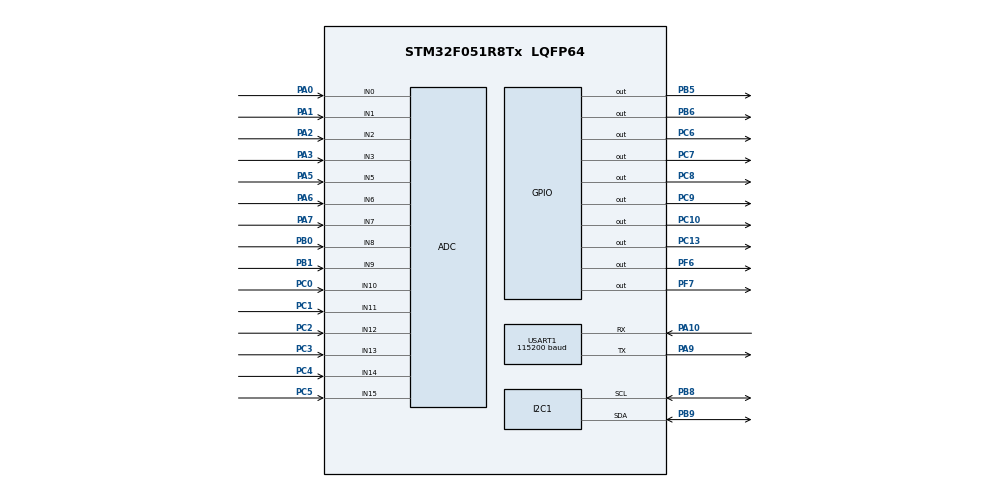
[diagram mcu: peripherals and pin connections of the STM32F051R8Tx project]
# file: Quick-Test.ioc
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ADC.ContinuousConvMode=DISABLE
Dma.ADC.0.Direction=DMA_PERIPH_TO_MEMORY
Dma.ADC.0.Instance=DMA1_Channel1
Dma.ADC.0.MemDataAlignment=DMA_MDATAALIGN_WORD
Dma.ADC.0.MemInc=DMA_MINC_ENABLE
Dma.ADC.0.Mode=DMA_CIRCULAR
Dma.ADC.0.PeriphDataAlignment=DMA_PDATAALIGN_WORD
Dma.ADC.0.PeriphInc=DMA_PINC_DISABLE
Dma.ADC.0.Priority=DMA_PRIORITY_LOW
Dma.Request0=ADC
Mcu.Family=STM32F0
Mcu.Name=STM32F051R8Tx
Mcu.Package=LQFP64
NVIC.DMA1_Channel1_IRQn=true\:0\:0\:false\:false\:true\:false\:true\:true
NVIC.USART1_IRQn=true\:0\:0\:false\:false\:true\:true\:true\:true
PA0.Mode=IN0
PA0.Signal=ADC_IN0
PA1.Mode=IN1
PA1.Signal=ADC_IN1
PA10.Mode=Asynchronous
PA10.Signal=USART1_RX
PA13.Mode=Serial_Wire
PA13.Signal=SYS_SWDIO
PA14.Mode=Serial_Wire
PA14.Signal=SYS_SWCLK
PA2.Mode=IN2
PA2.Signal=ADC_IN2
PA3.Mode=IN3
PA3.Signal=ADC_IN3
PA5.Mode=IN5
PA5.Signal=ADC_IN5
PA6.Mode=IN6
PA6.Signal=ADC_IN6
PA7.Mode=IN7
PA7.Signal=ADC_IN7
PA9.Mode=Asynchronous
PA9.Signal=USART1_TX
PB0.Mode=IN8
PB0.Signal=ADC_IN8
PB1.Mode=IN9
PB1.Signal=ADC_IN9
PB5.Signal=GPIO_Output
PB6.Signal=GPIO_Output
PB8.Mode=I2C
PB8.Signal=I2C1_SCL
PB9.Mode=I2C
PB9.Signal=I2C1_SDA
PC0.Mode=IN10
PC0.Signal=ADC_IN10
PC1.Mode=IN11
PC1.Signal=ADC_IN11
PC10.Signal=GPIO_Output
PC13.Signal=GPIO_Output
PC2.Mode=IN12
PC2.Signal=ADC_IN12
PC3.Mode=IN13
PC3.Signal=ADC_IN13
PC4.Mode=IN14
PC4.Signal=ADC_IN14
PC5.Mode=IN15
PC5.Signal=ADC_IN15
PC6.Signal=GPIO_Output
PC7.Signal=GPIO_Output
PC8.Signal=GPIO_Output
PC9.Signal=GPIO_Output
PF6.Signal=GPIO_Output
PF7.Signal=GPIO_Output
ProjectManager.HeapSize=0x200
ProjectManager.StackSize=0x400
ProjectManager.TargetToolchain=STM32CubeIDE
USART1.BaudRate=115200
USART1.VirtualMode-Asynchronous=VM_ASYNC
VP_ADC_TempSens_Input.Mode=IN-TempSens
VP_ADC_Vref_Input.Mode=IN-Vrefint
board=custom

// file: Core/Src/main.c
/* USER CODE BEGIN Header */
/**
 ******************************************************************************
 * @file           : main.c
 * @brief          : Main program body
 ******************************************************************************
 * @attention
 *
 * Copyright (c) 2022 STMicroelectronics.
 * All rights reserved.
 *
 * This software is licensed under terms that can be found in the LICENSE file
 * in the root directory of this software component.
 * If no LICENSE file comes with this software, it is provided AS-IS.
 *
 ******************************************************************************
 */
/* USER CODE END Header */
#include "main.h"

/* USER CODE BEGIN Includes */
#include "string.h"
#include "stdio.h"
#include "stdlib.h"

/* USER CODE END Includes */

/* USER CODE BEGIN PTD */
typedef struct {
	GPIO_TypeDef *gpio;
	uint16_t pin;
} gpio_pins;

const gpio_pins gpios[] = { { GPIOB, GPIO_PIN_5 }, { GPIOB, GPIO_PIN_6 }, {
GPIOC, GPIO_PIN_10 }, { GPIOC, GPIO_PIN_13 }, { GPIOC, GPIO_PIN_7 }, {
GPIOC, GPIO_PIN_8 }, { GPIOC, GPIO_PIN_9 }, { GPIOC, GPIO_PIN_6 } };

const char *gpio_names[] = { "sys_on PB5", "800v_en PB6", "3v3_en PC10", "n150v_en PC13", "15v_en PC7", "n5v_en PC8", "5v_en PC9",
		"n3v3_en PC6" };

/* USER CODE END PTD */

ADC_HandleTypeDef hadc;
DMA_HandleTypeDef hdma_adc;

I2C_HandleTypeDef hi2c1;

UART_HandleTypeDef huart1;

/* USER CODE BEGIN PV */
static const uint8_t ADT7410_1 = 0x48 << 1; // Use 8-bit address
static const uint8_t ADT7410_2 = 0x4A << 1;
static const uint8_t REG_TEMP = 0x00;
HAL_StatusTypeDef ret;
uint8_t buf[2];
int16_t val;
float temp_c;
#define BUFFER_SIZE 100
uint8_t rx_buf[BUFFER_SIZE];
uint8_t rx_index;
//int gpio_count = 0;
int num_gpios = 8;
volatile uint32_t adcResultsDMA[17];
const int adcChannelCount = sizeof(adcResultsDMA) / sizeof(adcResultsDMA[0]);
int gpio_flags[17];
/* USER CODE END PV */

void SystemClock_Config(void);
static void MX_GPIO_Init(void);
static void MX_DMA_Init(void);
static void MX_USART1_UART_Init(void);
static void MX_ADC_Init(void);
static void MX_I2C1_Init(void);

/* USER CODE BEGIN 0 */

void HAL_UART_RxCpltCallback(UART_HandleTypeDef *huart) {
	if (huart->Instance == USART1) {
		HAL_UART_Receive_IT(&huart1, rx_buf, 1);
		char key = rx_buf[0];
		if (key == 'a' || key == 'b' || key == 'c' || key == 'd' || key == 'e' || key == 'f' || key == 'g' || key == 'h') {
			int charNum = -1;
			switch (key) {
			case 'a':
				charNum = 0;
				break;
			case 'b':
				charNum = 1;
				break;
			case 'c':
				charNum = 2;
				break;
			case 'd':
				charNum = 3;
				break;
			case 'e':
				charNum = 4;
				break;
			case 'f':
				charNum = 5;
				break;
			case 'g':
				charNum = 6;
				break;
			case 'h':
				charNum = 7;
				break;
			}

//			HAL_UART_Transmit(&huart1, "\x1B" , 1, 100);
//			HAL_UART_Transmit(&huart1, "\x5B" , 1, 100);
//			HAL_UART_Transmit(&huart1, "\x32" , 1, 100);
//			HAL_UART_Transmit(&huart1, "\x4A" , 1, 100);
			// Read all the ADCs (adcResultsDMA needs to be uint32_t!!!)
			HAL_ADC_Start_DMA(&hadc, (uint32_t*) adcResultsDMA,
					adcChannelCount);
			for (int i = 0; i < num_gpios; i++) {

				// Changing to the next GPIO
				if (i == charNum) {
					if (HAL_GPIO_ReadPin(gpios[i].gpio, gpios[i].pin)
							== GPIO_PIN_SET) {
						HAL_GPIO_WritePin(gpios[i].gpio, gpios[i].pin,
								GPIO_PIN_RESET);
					} else {

						//			gpio_count == num_gpios - 1 ? gpio_count = 0 : gpio_count++;
						HAL_GPIO_TogglePin(gpios[i].gpio, gpios[i].pin);
						if (gpio_flags[i] == 1) {
						}
					}
				}

				HAL_UART_Transmit(&huart1, gpio_names[i], strlen(gpio_names[i]), 100);
				if (HAL_GPIO_ReadPin(gpios[i].gpio, gpios[i].pin)
						== GPIO_PIN_SET) {
					HAL_UART_Transmit(&huart1, ": H", 3, 100);
				} else {
					HAL_UART_Transmit(&huart1, ": L", 3, 100);
				}
				HAL_UART_Transmit(&huart1, "\r\n", 2, 100);
			}

			HAL_UART_Transmit(&huart1, "\r\n", 2, 100);

			// For each ADC get its voltage
			for (int i = 0; i < adcChannelCount; i++) {

				// Parsing ADCs value based on gpio_count
				uint16_t adc = adcResultsDMA[i];
				uint8_t adcval[2];
				adcval[0] = ((adc & 0xFF00) >> 8); // ADC reading MSB
				adcval[1] = (adc & 0xFF); // ADC reading LSB

				// Processing results for UART Transmission

				char value[8];
				if (i == 0) { // When i is < 8 you read from one of the ADC channels
					float voltage = adc * (3.3 / 4095) * 6;
					sprintf(value, "%f", voltage);
					HAL_UART_Transmit(&huart1, "END_mon PA0", 11, 100);
					if (voltage < 3.4 && voltage > 3.2) {
						gpio_flags[i] = 1;
					} else if (voltage != 0) {
						gpio_flags[i] = 0;
					}

				} else if (i == 1) {
					float voltage = adc * (3.3 / 4095);
					sprintf(value, "%f", voltage);
					HAL_UART_Transmit(&huart1, "BUS_Imon PA1", 12, 100);
					if (voltage < 3.4 && voltage > 3.2) {
						gpio_flags[i] = 1;
					} else if (voltage != 0) {
						gpio_flags[i] = 0;
					}

				} else if (i == 2) {
					float voltage = adc * (3.3 / 4095) * 2;
					sprintf(value, "%f", voltage);
					HAL_UART_Transmit(&huart1, "BUS_Vmon PA2", 12, 100);
					if (voltage < 3.4 && voltage > 3.2) {
						gpio_flags[i] = 1;
					} else if (voltage != 0) {
						gpio_flags[i] = 0;
					}

				} else if (i == 3) {
					float voltage = adc * (3.3 / 4095) * 1.1 ;
					// Need to multiply by 2
					sprintf(value, "%f", voltage);
					HAL_UART_Transmit(&huart1, "3v3_mon PA3", 11, 100);
					if (voltage < 3.4 && voltage > 3.2) {
						gpio_flags[i] = 1;
					} else if (voltage != 0) {
						gpio_flags[i] = 0;
					}

				} else if (i == 4) {
					float voltage = adc * (3.3 / 4095) * -62.5;
					sprintf(value, "%f", voltage);
					HAL_UART_Transmit(&huart1, "n150v_mon PA5", 13, 100);
					if (voltage > -150.1 && voltage < -149.9) {
						gpio_flags[i] = 1;
					} else if (voltage != 0) {
						gpio_flags[i] = 0;
					}

				} else if (i == 5) {
					float voltage = adc * (3.3 / 4095) * -320;
					sprintf(value, "%f", voltage);
					HAL_UART_Transmit(&huart1, "n800v_mon PA6", 13, 100);
					if (voltage < 3.4 && voltage > 3.2) {
						gpio_flags[i] = 1;
					} else if (voltage != 0) {
						gpio_flags[i] = 0;
					}

				} else if (i == 6) {
					float voltage = adc * (3.3 / 4095);
					sprintf(value, "%f", voltage);
					HAL_UART_Transmit(&huart1, "SWP_mon PA7", 11, 100);
					if (voltage < 3.4 && voltage > 3.2) {
						gpio_flags[i] = 1;
					} else if (voltage != 0) {
						gpio_flags[i] = 0;
					}

				} else if (i == 7) {
					float voltage = adc * (3.3 / 4095);
//					 voltage *= -2;
					sprintf(value, "%f", voltage);
					HAL_UART_Transmit(&huart1, "TMP_1 PB0", 9, 100);
					if (voltage > -5.1 && voltage < -4.9) {
						gpio_flags[i] = 1;
					} else if (voltage != 0) {
						gpio_flags[i] = 0;
					}

				} else if (i == 8) {
					float voltage = adc * (3.3 / 4095);
//					 voltage *= 2;
					sprintf(value, "%f", voltage);
					HAL_UART_Transmit(&huart1, "TMP_2 PB1", 9, 100);
					if (voltage > -5.1 && voltage < -4.9) {
						gpio_flags[i] = 1;
					} else if (voltage != 0) {
						gpio_flags[i] = 0;
					}

				} else if (i == 9) {
					float voltage = adc * (3.3 / 4095);
//					 voltage *= 2;
					sprintf(value, "%f", voltage);
					HAL_UART_Transmit(&huart1, "2v5_mon PC0", 11, 100);
					if (voltage < 5.1 && voltage > 4.9) {
						gpio_flags[i] = 1;
					} else if (voltage != 0) {
						gpio_flags[i] = 0;
					}

				} else if (i == 10) {
					float voltage = adc * (3.3 / 4095) * -1.65;
//					 voltage *= -1;
					sprintf(value, "%f", voltage);
					HAL_UART_Transmit(&huart1, "n5v_mon PC1", 11, 100);
					if (voltage > -3.4 && voltage < -3.2) {
						gpio_flags[i] = 1;
					} else if (voltage != 0) {
						gpio_flags[i] = 0;
					}
				} else if (i == 11) {
					float voltage = adc * (3.3 / 4095) * 1.67;
//					 voltage *= -50;
					sprintf(value, "%f", voltage);
					HAL_UART_Transmit(&huart1, "5v_mon PC2", 10, 100);
					if (voltage > -150.1 && voltage < -149.9) {
						gpio_flags[i] = 1;
					} else if (voltage != 0) {
						gpio_flags[i] = 0;
					}

				} else if (i == 12) {
					float voltage = adc * (3.3 / 4095) * -1.05;
//					 voltage *= 5;
					sprintf(value, "%f", voltage);
					HAL_UART_Transmit(&huart1, "n3v3_mon PC3", 12, 100);
					if (voltage < 15.1 && voltage > 14.9) {
						gpio_flags[i] = 1;
					} else if (voltage != 0) {
						gpio_flags[i] = 0;
					}

				} else if (i == 13) {
					float voltage = adc * (3.3 / 4095) * 1.67;
					sprintf(value, "%f", voltage);
					HAL_UART_Transmit(&huart1, "5vref_mon PC4", 13, 100);
					if (voltage < 3.4 && voltage > 3.2) {
						gpio_flags[i] = 1;
					} else if (voltage != 0) {
						gpio_flags[i] = 0;
					}
				} else if (i == 14) { // for i = 13 you read the internal temperature
					// Should be 1.5ish for our actual Signal Board
					float voltage = adc * (3.3 / 4095) * 5;
					sprintf(value, "%f", voltage);
					HAL_UART_Transmit(&huart1, "15v_mon PC5", 11, 100);
					if (voltage < 3.4 && voltage > 3.2) {
						gpio_flags[i] = 1;
					} else if (voltage != 0) {
						gpio_flags[i] = 0;
					}

				} else if (i == 15) { // for i = 13 you read the internal temperature
					// Should be 1.5ish for our actual Signal Board
					float voltage = adc * (3.3 / 4095);
					sprintf(value, "%f", voltage);
					HAL_UART_Transmit(&huart1, "TMPSENSE", 8, 100);
					if (voltage < 3.4 && voltage > 3.2) {
						gpio_flags[i] = 1;
					} else if (voltage != 0) {
						gpio_flags[i] = 0;
					}

				} else if (i == 16) { // for i = 14 you read the internal voltage
					// Should be 3.3 for our actual Signal Board
					float voltage = adc * (3.3 / 4095);
					sprintf(value, "%f", voltage);
					HAL_UART_Transmit(&huart1, "VREFINT", 7, 100);
					if (voltage < 3.4 && voltage > 3.2) {
						gpio_flags[i] = 1;
					} else if (voltage != 0) {
						gpio_flags[i] = 0;
					}

				}

				HAL_UART_Transmit(&huart1, ": ", 2, 100);
				HAL_UART_Transmit(&huart1, value, 8, 100);
				HAL_UART_Transmit(&huart1, "\r\n", 2, 100);

			}

			HAL_UART_Transmit(&huart1, "\r\n", 2, 100);

			 // Tell ADT7410_1 that we want to read from the temperature register
			 buf[0] = REG_TEMP;
			 ret = HAL_I2C_Master_Transmit(&hi2c1, ADT7410_1, buf, 1, 1000);
			 //			I2C_HandleTypeDef *hi2c, uint16_t DevAddress, uint8_t *pData, uint16_t Size, uint32_t Timeout)
			 if (ret != HAL_OK) {
			 strcpy((char*) buf, "Error Tx\r\n");
			 } else {

			 //				 Read 2 bytes from the temperature register
			 ret = HAL_I2C_Master_Receive(&hi2c1, ADT7410_1, buf, 2, 1000);
			 if (ret != HAL_OK) {
			 strcpy((char*) buf, "Error Rx\r\n");
			 } else {

			 val = (int16_t) (buf[0] << 8);
			 val = (val | buf[1]) >> 3;

			 // Convert to 2's complement, since temperature can be negative
			 if (val > 0x7FF) {
			 val |= 0xF000;
			 }

			 // Convert to float temperature value (Celsius)
			 temp_c = val * 0.0625;

			 // Convert temperature to decimal value
			 temp_c *= 100;

			 sprintf((char*) buf, "ADT7410_1: %u.%u C\r\n",
			 ((unsigned int) temp_c / 100),
			 ((unsigned int) temp_c % 100));
			 }
			 }

			 HAL_UART_Transmit(&huart1, buf, strlen((char*) buf), HAL_MAX_DELAY);

			 // Tell ADT7410_2 that we want to read from the temperature register
			 buf[0] = REG_TEMP;
			 ret = HAL_I2C_Master_Transmit(&hi2c1, ADT7410_2, buf, 1, 1000);
			 //			I2C_HandleTypeDef *hi2c, uint16_t DevAddress, uint8_t *pData, uint16_t Size, uint32_t Timeout)
			 if (ret != HAL_OK) {
			 strcpy((char*) buf, "Error Tx\r\n");
			 } else {

			 //				 Read 2 bytes from the temperature register
			 ret = HAL_I2C_Master_Receive(&hi2c1, ADT7410_2, buf, 2, 1000);
			 if (ret != HAL_OK) {
			 strcpy((char*) buf, "Error Rx\r\n");
			 } else {

			 val = (int16_t) (buf[0] << 8);
			 val = (val | buf[1]) >> 3;

			 // Convert to 2's complement, since temperature can be negative
			 if (val > 0x7FF) {
			 val |= 0xF000;
			 }

			 // Convert to float temperature value (Celsius)
			 temp_c = val * 0.0625;

			 // Convert temperature to decimal value
			 temp_c *= 100;

			 sprintf((char*) buf, "ADT7410 2: %u.%u C\r\n",
			 ((unsigned int) temp_c / 100),
			 ((unsigned int) temp_c % 100));
			 }
			 }

			 HAL_UART_Transmit(&huart1, buf, strlen((char*) buf), 100);
			 HAL_UART_Transmit(&huart1, "\r\n", 2, 100);

		}
	}
}

/* USER CODE END 0 */

int main(void)
{

  /* MCU Configuration--------------------------------------------------------*/

  /* Reset of all peripherals, Initializes the Flash interface and the Systick. */
  HAL_Init();

  /* USER CODE BEGIN Init */

	/* USER CODE BEGIN Init */

  /* USER CODE END Init */

  /* Configure the system clock */
  SystemClock_Config();

  /* Initialize all configured peripherals */
  MX_GPIO_Init();
  MX_DMA_Init();
  MX_USART1_UART_Init();
  MX_ADC_Init();
  MX_I2C1_Init();
  /* USER CODE BEGIN 2 */

	for (int i = 0; i < 15; i++) {
		gpio_flags[i] = 1;
	}

  /* USER CODE END 2 */

  /* Infinite loop */
  /* USER CODE BEGIN WHILE */

	HAL_GPIO_WritePin(gpios[0].gpio, gpios[0].pin, GPIO_PIN_SET);

	/* USER CODE BEGIN WHILE */
	while (1) {

		HAL_UART_Receive_IT(&huart1, rx_buf, 1);

    /* USER CODE END WHILE */

	}
}

void SystemClock_Config(void)
{
  RCC_OscInitTypeDef RCC_OscInitStruct = {0};
  RCC_ClkInitTypeDef RCC_ClkInitStruct = {0};
  RCC_PeriphCLKInitTypeDef PeriphClkInit = {0};

  /** Initializes the RCC Oscillators according to the specified parameters
  * in the RCC_OscInitTypeDef structure.
  */
  RCC_OscInitStruct.OscillatorType = RCC_OSCILLATORTYPE_HSI|RCC_OSCILLATORTYPE_HSI14;
  RCC_OscInitStruct.HSIState = RCC_HSI_ON;
  RCC_OscInitStruct.HSI14State = RCC_HSI14_ON;
  RCC_OscInitStruct.HSICalibrationValue = RCC_HSICALIBRATION_DEFAULT;
  RCC_OscInitStruct.HSI14CalibrationValue = 16;
  RCC_OscInitStruct.PLL.PLLState = RCC_PLL_NONE;
  if (HAL_RCC_OscConfig(&RCC_OscInitStruct) != HAL_OK)
  {
    Error_Handler();
  }

  /** Initializes the CPU, AHB and APB buses clocks
  */
  RCC_ClkInitStruct.ClockType = RCC_CLOCKTYPE_HCLK|RCC_CLOCKTYPE_SYSCLK
                              |RCC_CLOCKTYPE_PCLK1;
  RCC_ClkInitStruct.SYSCLKSource = RCC_SYSCLKSOURCE_HSI;
  RCC_ClkInitStruct.AHBCLKDivider = RCC_SYSCLK_DIV1;
  RCC_ClkInitStruct.APB1CLKDivider = RCC_HCLK_DIV1;

  if (HAL_RCC_ClockConfig(&RCC_ClkInitStruct, FLASH_LATENCY_0) != HAL_OK)
  {
    Error_Handler();
  }
  PeriphClkInit.PeriphClockSelection = RCC_PERIPHCLK_USART1|RCC_PERIPHCLK_I2C1;
  PeriphClkInit.Usart1ClockSelection = RCC_USART1CLKSOURCE_PCLK1;
  PeriphClkInit.I2c1ClockSelection = RCC_I2C1CLKSOURCE_HSI;
  if (HAL_RCCEx_PeriphCLKConfig(&PeriphClkInit) != HAL_OK)
  {
    Error_Handler();
  }
}

static void MX_ADC_Init(void)
{

  ADC_ChannelConfTypeDef sConfig = {0};

  /** Configure the global features of the ADC (Clock, Resolution, Data Alignment and number of conversion)
  */
  hadc.Instance = ADC1;
  hadc.Init.ClockPrescaler = ADC_CLOCK_ASYNC_DIV1;
  hadc.Init.Resolution = ADC_RESOLUTION_12B;
  hadc.Init.DataAlign = ADC_DATAALIGN_RIGHT;
  hadc.Init.ScanConvMode = ADC_SCAN_DIRECTION_FORWARD;
  hadc.Init.EOCSelection = ADC_EOC_SINGLE_CONV;
  hadc.Init.LowPowerAutoWait = DISABLE;
  hadc.Init.LowPowerAutoPowerOff = DISABLE;
  hadc.Init.ContinuousConvMode = DISABLE;
  hadc.Init.DiscontinuousConvMode = DISABLE;
  hadc.Init.ExternalTrigConv = ADC_SOFTWARE_START;
  hadc.Init.ExternalTrigConvEdge = ADC_EXTERNALTRIGCONVEDGE_NONE;
  hadc.Init.DMAContinuousRequests = DISABLE;
  hadc.Init.Overrun = ADC_OVR_DATA_PRESERVED;
  if (HAL_ADC_Init(&hadc) != HAL_OK)
  {
    Error_Handler();
  }

  /** Configure for the selected ADC regular channel to be converted.
  */
  sConfig.Channel = ADC_CHANNEL_0;
  sConfig.Rank = ADC_RANK_CHANNEL_NUMBER;
  sConfig.SamplingTime = ADC_SAMPLETIME_1CYCLE_5;
  if (HAL_ADC_ConfigChannel(&hadc, &sConfig) != HAL_OK)
  {
    Error_Handler();
  }

  /** Configure for the selected ADC regular channel to be converted.
  */
  sConfig.Channel = ADC_CHANNEL_1;
  if (HAL_ADC_ConfigChannel(&hadc, &sConfig) != HAL_OK)
  {
    Error_Handler();
  }

  /** Configure for the selected ADC regular channel to be converted.
  */
  sConfig.Channel = ADC_CHANNEL_2;
  if (HAL_ADC_ConfigChannel(&hadc, &sConfig) != HAL_OK)
  {
    Error_Handler();
  }

  /** Configure for the selected ADC regular channel to be converted.
  */
  sConfig.Channel = ADC_CHANNEL_3;
  if (HAL_ADC_ConfigChannel(&hadc, &sConfig) != HAL_OK)
  {
    Error_Handler();
  }

  /** Configure for the selected ADC regular channel to be converted.
  */
  sConfig.Channel = ADC_CHANNEL_5;
  if (HAL_ADC_ConfigChannel(&hadc, &sConfig) != HAL_OK)
  {
    Error_Handler();
  }

  /** Configure for the selected ADC regular channel to be converted.
  */
  sConfig.Channel = ADC_CHANNEL_6;
  if (HAL_ADC_ConfigChannel(&hadc, &sConfig) != HAL_OK)
  {
    Error_Handler();
  }

  /** Configure for the selected ADC regular channel to be converted.
  */
  sConfig.Channel = ADC_CHANNEL_7;
  if (HAL_ADC_ConfigChannel(&hadc, &sConfig) != HAL_OK)
  {
    Error_Handler();
  }

  /** Configure for the selected ADC regular channel to be converted.
  */
  sConfig.Channel = ADC_CHANNEL_8;
  if (HAL_ADC_ConfigChannel(&hadc, &sConfig) != HAL_OK)
  {
    Error_Handler();
  }

  /** Configure for the selected ADC regular channel to be converted.
  */
  sConfig.Channel = ADC_CHANNEL_9;
  if (HAL_ADC_ConfigChannel(&hadc, &sConfig) != HAL_OK)
  {
    Error_Handler();
  }

  /** Configure for the selected ADC regular channel to be converted.
  */
  sConfig.Channel = ADC_CHANNEL_10;
  if (HAL_ADC_ConfigChannel(&hadc, &sConfig) != HAL_OK)
  {
    Error_Handler();
  }

  /** Configure for the selected ADC regular channel to be converted.
  */
  sConfig.Channel = ADC_CHANNEL_11;
  if (HAL_ADC_ConfigChannel(&hadc, &sConfig) != HAL_OK)
  {
    Error_Handler();
  }

  /** Configure for the selected ADC regular channel to be converted.
  */
  sConfig.Channel = ADC_CHANNEL_12;
  if (HAL_ADC_ConfigChannel(&hadc, &sConfig) != HAL_OK)
  {
    Error_Handler();
  }

  /** Configure for the selected ADC regular channel to be converted.
  */
  sConfig.Channel = ADC_CHANNEL_13;
  if (HAL_ADC_ConfigChannel(&hadc, &sConfig) != HAL_OK)
  {
    Error_Handler();
  }

  /** Configure for the selected ADC regular channel to be converted.
  */
  sConfig.Channel = ADC_CHANNEL_14;
  if (HAL_ADC_ConfigChannel(&hadc, &sConfig) != HAL_OK)
  {
    Error_Handler();
  }

  /** Configure for the selected ADC regular channel to be converted.
  */
  sConfig.Channel = ADC_CHANNEL_15;
  if (HAL_ADC_ConfigChannel(&hadc, &sConfig) != HAL_OK)
  {
    Error_Handler();
  }

  /** Configure for the selected ADC regular channel to be converted.
  */
  sConfig.Channel = ADC_CHANNEL_TEMPSENSOR;
  if (HAL_ADC_ConfigChannel(&hadc, &sConfig) != HAL_OK)
  {
    Error_Handler();
  }

  /** Configure for the selected ADC regular channel to be converted.
  */
  sConfig.Channel = ADC_CHANNEL_VREFINT;
  if (HAL_ADC_ConfigChannel(&hadc, &sConfig) != HAL_OK)
  {
    Error_Handler();
  }

}

static void MX_I2C1_Init(void)
{

  hi2c1.Instance = I2C1;
  hi2c1.Init.Timing = 0x2000090E;
  hi2c1.Init.OwnAddress1 = 0;
  hi2c1.Init.AddressingMode = I2C_ADDRESSINGMODE_7BIT;
  hi2c1.Init.DualAddressMode = I2C_DUALADDRESS_DISABLE;
  hi2c1.Init.OwnAddress2 = 0;
  hi2c1.Init.OwnAddress2Masks = I2C_OA2_NOMASK;
  hi2c1.Init.GeneralCallMode = I2C_GENERALCALL_DISABLE;
  hi2c1.Init.NoStretchMode = I2C_NOSTRETCH_DISABLE;
  if (HAL_I2C_Init(&hi2c1) != HAL_OK)
  {
    Error_Handler();
  }

  /** Configure Analogue filter
  */
  if (HAL_I2CEx_ConfigAnalogFilter(&hi2c1, I2C_ANALOGFILTER_ENABLE) != HAL_OK)
  {
    Error_Handler();
  }

  /** Configure Digital filter
  */
  if (HAL_I2CEx_ConfigDigitalFilter(&hi2c1, 0) != HAL_OK)
  {
    Error_Handler();
  }

}

static void MX_USART1_UART_Init(void)
{

  huart1.Instance = USART1;
  huart1.Init.BaudRate = 115200;
  huart1.Init.WordLength = UART_WORDLENGTH_8B;
  huart1.Init.StopBits = UART_STOPBITS_1;
  huart1.Init.Parity = UART_PARITY_NONE;
  huart1.Init.Mode = UART_MODE_TX_RX;
  huart1.Init.HwFlowCtl = UART_HWCONTROL_NONE;
  huart1.Init.OverSampling = UART_OVERSAMPLING_16;
  huart1.Init.OneBitSampling = UART_ONE_BIT_SAMPLE_DISABLE;
  huart1.AdvancedInit.AdvFeatureInit = UART_ADVFEATURE_NO_INIT;
  if (HAL_UART_Init(&huart1) != HAL_OK)
  {
    Error_Handler();
  }

}

static void MX_DMA_Init(void)
{

  /* DMA controller clock enable */
  __HAL_RCC_DMA1_CLK_ENABLE();

  /* DMA interrupt init */
  /* DMA1_Channel1_IRQn interrupt configuration */
  HAL_NVIC_SetPriority(DMA1_Channel1_IRQn, 0, 0);
  HAL_NVIC_EnableIRQ(DMA1_Channel1_IRQn);

}

static void MX_GPIO_Init(void)
{
  GPIO_InitTypeDef GPIO_InitStruct = {0};

  /* GPIO Ports Clock Enable */
  __HAL_RCC_GPIOC_CLK_ENABLE();
  __HAL_RCC_GPIOA_CLK_ENABLE();
  __HAL_RCC_GPIOB_CLK_ENABLE();
  __HAL_RCC_GPIOF_CLK_ENABLE();

  /*Configure GPIO pin Output Level */
  HAL_GPIO_WritePin(GPIOC, GPIO_PIN_13|GPIO_PIN_6|GPIO_PIN_7|GPIO_PIN_8
                          |GPIO_PIN_9|GPIO_PIN_10, GPIO_PIN_RESET);

  /*Configure GPIO pin Output Level */
  HAL_GPIO_WritePin(GPIOF, GPIO_PIN_6|GPIO_PIN_7, GPIO_PIN_RESET);

  /*Configure GPIO pin Output Level */
  HAL_GPIO_WritePin(GPIOB, GPIO_PIN_5|GPIO_PIN_6, GPIO_PIN_RESET);

  /*Configure GPIO pins : PC13 PC6 PC7 PC8
                           PC9 PC10 */
  GPIO_InitStruct.Pin = GPIO_PIN_13|GPIO_PIN_6|GPIO_PIN_7|GPIO_PIN_8
                          |GPIO_PIN_9|GPIO_PIN_10;
  GPIO_InitStruct.Mode = GPIO_MODE_OUTPUT_PP;
  GPIO_InitStruct.Pull = GPIO_NOPULL;
  GPIO_InitStruct.Speed = GPIO_SPEED_FREQ_LOW;
  HAL_GPIO_Init(GPIOC, &GPIO_InitStruct);

  /*Configure GPIO pins : PF6 PF7 */
  GPIO_InitStruct.Pin = GPIO_PIN_6|GPIO_PIN_7;
  GPIO_InitStruct.Mode = GPIO_MODE_OUTPUT_PP;
  GPIO_InitStruct.Pull = GPIO_NOPULL;
  GPIO_InitStruct.Speed = GPIO_SPEED_FREQ_LOW;
  HAL_GPIO_Init(GPIOF, &GPIO_InitStruct);

  /*Configure GPIO pins : PB5 PB6 */
  GPIO_InitStruct.Pin = GPIO_PIN_5|GPIO_PIN_6;
  GPIO_InitStruct.Mode = GPIO_MODE_OUTPUT_PP;
  GPIO_InitStruct.Pull = GPIO_NOPULL;
  GPIO_InitStruct.Speed = GPIO_SPEED_FREQ_LOW;
  HAL_GPIO_Init(GPIOB, &GPIO_InitStruct);

}

void Error_Handler(void)
{
	__disable_irq();
	while (1) {
	}
}
